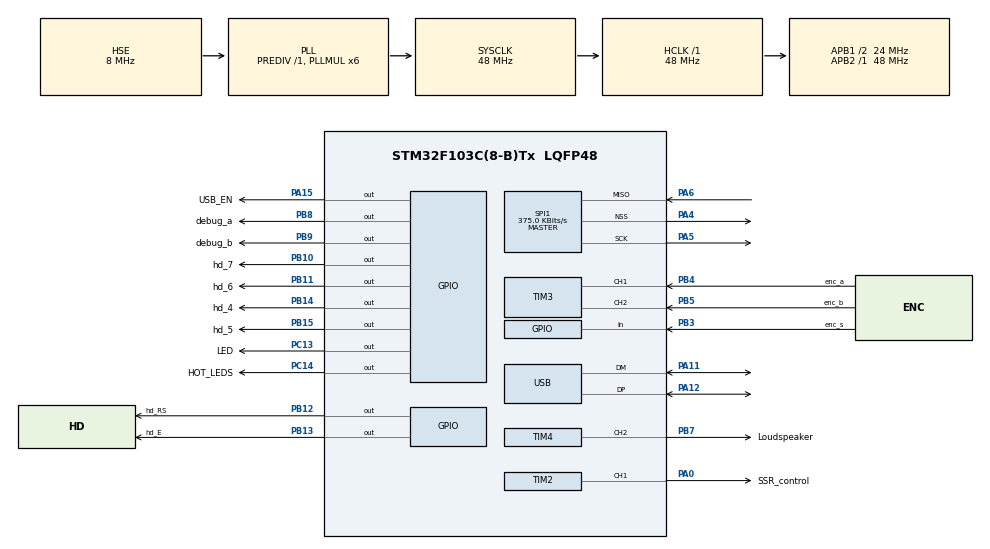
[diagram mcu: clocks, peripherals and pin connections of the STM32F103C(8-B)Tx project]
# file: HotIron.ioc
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Dma.Request0=TIM4_CH2
Dma.TIM4_CH2.0.Direction=DMA_MEMORY_TO_PERIPH
Dma.TIM4_CH2.0.Instance=DMA1_Channel4
Dma.TIM4_CH2.0.MemDataAlignment=DMA_MDATAALIGN_BYTE
Dma.TIM4_CH2.0.MemInc=DMA_MINC_ENABLE
Dma.TIM4_CH2.0.Mode=DMA_CIRCULAR
Dma.TIM4_CH2.0.PeriphDataAlignment=DMA_PDATAALIGN_HALFWORD
Dma.TIM4_CH2.0.PeriphInc=DMA_PINC_DISABLE
Dma.TIM4_CH2.0.Priority=DMA_PRIORITY_LOW
Mcu.Family=STM32F1
Mcu.Name=STM32F103C(8-B)Tx
Mcu.Package=LQFP48
NVIC.DMA1_Channel4_IRQn=true\:0\:0\:false\:false\:true\:false\:true
NVIC.PriorityGroup=NVIC_PRIORITYGROUP_4
NVIC.TIM2_IRQn=true\:0\:0\:false\:false\:true\:true\:true
NVIC.USB_LP_CAN1_RX0_IRQn=true\:0\:0\:false\:false\:true\:false\:true
PA0-WKUP.GPIO_Label=SSR_control
PA0-WKUP.Signal=S_TIM2_CH1_ETR
PA11.Mode=Device
PA11.Signal=USB_DM
PA12.Mode=Device
PA12.Signal=USB_DP
PA13.Mode=Serial_Wire
PA13.Signal=SYS_JTMS-SWDIO
PA14.Mode=Serial_Wire
PA14.Signal=SYS_JTCK-SWCLK
PA15.GPIO_Label=USB_EN
PA15.Signal=GPIO_Output
PA4.Mode=NSS_Signal_Hard_Output
PA4.Signal=SPI1_NSS
PA5.Mode=RX_Only_Simplex_Unidirect_Master
PA5.Signal=SPI1_SCK
PA6.GPIO_PuPd=GPIO_PULLUP
PA6.Mode=RX_Only_Simplex_Unidirect_Master
PA6.Signal=SPI1_MISO
PB10.GPIO_Label=hd_7
PB10.PinState=GPIO_PIN_SET
PB10.Signal=GPIO_Output
PB11.GPIO_Label=hd_6
PB11.PinState=GPIO_PIN_SET
PB11.Signal=GPIO_Output
PB12.GPIO_Label=hd_RS
PB12.PinState=GPIO_PIN_SET
PB12.Signal=GPIO_Output
PB13.GPIO_Label=hd_E
PB13.PinState=GPIO_PIN_SET
PB13.Signal=GPIO_Output
PB14.GPIO_Label=hd_4
PB14.PinState=GPIO_PIN_SET
PB14.Signal=GPIO_Output
PB15.GPIO_Label=hd_5
PB15.PinState=GPIO_PIN_SET
PB15.Signal=GPIO_Output
PB3.GPIO_Label=enc_s
PB3.Signal=GPIO_Input
PB4.GPIO_Label=enc_a
PB4.Signal=S_TIM3_CH1
PB5.GPIO_Label=enc_b
PB5.Signal=S_TIM3_CH2
PB7.GPIO_Label=Loudspeaker
PB7.Signal=S_TIM4_CH2
PB8.GPIO_Label=debug_a
PB8.Signal=GPIO_Output
PB9.GPIO_Label=debug_b
PB9.Signal=GPIO_Output
PC13-TAMPER-RTC.GPIO_Label=LED
PC13-TAMPER-RTC.Signal=GPIO_Output
PC14-OSC32_IN.GPIO_Label=HOT_LEDS
PC14-OSC32_IN.Signal=GPIO_Output
PD0-OSC_IN.Mode=HSE-External-Oscillator
PD0-OSC_IN.Signal=RCC_OSC_IN
PD1-OSC_OUT.Mode=HSE-External-Oscillator
PD1-OSC_OUT.Signal=RCC_OSC_OUT
ProjectManager.HeapSize=0x200
ProjectManager.StackSize=0x400
ProjectManager.TargetToolchain=STM32CubeIDE
RCC.AHBFreq_Value=48000000
RCC.APB1CLKDivider=RCC_HCLK_DIV2
RCC.APB1Freq_Value=24000000
RCC.APB1TimFreq_Value=48000000
RCC.APB2Freq_Value=48000000
RCC.APB2TimFreq_Value=48000000
RCC.HCLKFreq_Value=48000000
RCC.PLLMUL=RCC_PLL_MUL6
RCC.SYSCLKFreq_VALUE=48000000
RCC.SYSCLKSource=RCC_SYSCLKSOURCE_PLLCLK
RCC.USBFreq_Value=48000000
SH.S_TIM2_CH1_ETR.0=TIM2_CH1,PWM Generation1 CH1
SH.S_TIM3_CH1.0=TIM3_CH1,Encoder_Interface
SH.S_TIM3_CH2.0=TIM3_CH2,Encoder_Interface
SH.S_TIM4_CH2.0=TIM4_CH2,PWM Generation2 CH2
SPI1.BaudRatePrescaler=SPI_BAUDRATEPRESCALER_128
SPI1.CLKPhase=SPI_PHASE_1EDGE
SPI1.CLKPolarity=SPI_POLARITY_LOW
SPI1.CalculateBaudRate=375.0 KBits/s
SPI1.DataSize=SPI_DATASIZE_16BIT
SPI1.Direction=SPI_DIRECTION_2LINES_RXONLY
SPI1.Mode=SPI_MODE_MASTER
SPI1.VirtualNSS=VM_NSSHARD
SPI1.VirtualType=VM_MASTER
TIM1.Prescaler=HAL_RCC_GetSysClockFreq()/1000000-1
TIM2.AutoReloadPreload=TIM_AUTORELOAD_PRELOAD_ENABLE
TIM2.Channel-Output\ Compare2\ No\ Output=TIM_CHANNEL_2
TIM2.Channel-Output\ Compare3\ No\ Output=TIM_CHANNEL_3
TIM2.Channel-PWM\ Generation1\ CH1=TIM_CHANNEL_1
TIM2.ClockDivision=TIM_CLOCKDIVISION_DIV1
TIM2.Period=999
TIM2.Prescaler=HAL_RCC_GetSysClockFreq()/1000-1
TIM3.AutoReloadPreload=TIM_AUTORELOAD_PRELOAD_ENABLE
TIM3.CounterMode=TIM_COUNTERMODE_UP
TIM3.EncoderMode=TIM_ENCODERMODE_TI1
TIM3.IC1Filter=10
TIM3.IC1Polarity=TIM_ICPOLARITY_RISING
TIM3.IC2Filter=10
TIM3.IC2Polarity=TIM_ICPOLARITY_RISING
TIM4.AutoReloadPreload=TIM_AUTORELOAD_PRELOAD_ENABLE
TIM4.Channel-PWM\ Generation2\ CH2=TIM_CHANNEL_2
TIM4.Period=127
TIM4.Pulse-PWM\ Generation2\ CH2=0
USB_DEVICE.CLASS_NAME_FS=CDC
USB_DEVICE.VirtualMode=Cdc
USB_DEVICE.VirtualModeFS=Cdc_FS
VP_TIM1_VS_ClockSourceINT.Mode=Internal
VP_TIM2_VS_ClockSourceINT.Mode=Internal
VP_TIM2_VS_no_output2.Mode=Output Compare2 No Output
VP_TIM2_VS_no_output3.Mode=Output Compare3 No Output
VP_TIM4_VS_ClockSourceINT.Mode=Internal
VP_USB_DEVICE_VS_USB_DEVICE_CDC_FS.Mode=CDC_FS
board=custom

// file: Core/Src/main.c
/* USER CODE BEGIN Header */
/**
  ******************************************************************************
  * @file           : main.c
  * @brief          : Main program body
  ******************************************************************************
  * @attention
  *
  * <h2><center>&copy; Copyright (c) 2021 STMicroelectronics.
  * All rights reserved.</center></h2>
  *
  * This software component is licensed by ST under BSD 3-Clause license,
  * the "License"; You may not use this file except in compliance with the
  * License. You may obtain a copy of the License at:
  *                        opensource.org/licenses/BSD-3-Clause
  *
  ******************************************************************************
  */
/* USER CODE END Header */
#include "main.h"
#include "usb_device.h"

/* USER CODE BEGIN Includes */
#include "usbd_cdc_if.h"
#include "delay.h"
#include "lcd.h"
#include "string.h"
#include "spi_rxonly.h"

#include "notes.h"

/* USER CODE END Includes */

/* USER CODE BEGIN PD */
#define HOT_TEMP (40) // temperature to show the HOT indicator
#define HOT_HYST (2)  // hysteresis for led blink
#define MAX_TEMP (270) // upper limit
#define STEP_TEMP (5) // how much to change the temperature with each encoder tick

// pins used for debug
#define DEBUG_A1 HAL_GPIO_WritePin(debug_a_GPIO_Port, debug_a_Pin, 1)
#define DEBUG_B1 HAL_GPIO_WritePin(debug_b_GPIO_Port, debug_b_Pin, 1)
#define DEBUG_A0 HAL_GPIO_WritePin(debug_a_GPIO_Port, debug_a_Pin, 0)
#define DEBUG_B0 HAL_GPIO_WritePin(debug_b_GPIO_Port, debug_b_Pin, 0)

/* USER CODE END PD */

SPI_HandleTypeDef hspi1;

TIM_HandleTypeDef htim1;
TIM_HandleTypeDef htim2;
TIM_HandleTypeDef htim3;
TIM_HandleTypeDef htim4;
DMA_HandleTypeDef hdma_tim4_ch2;

/* USER CODE BEGIN PV */

LCD_HandleTypeDef lcd;

// ports & pins should be globally visible
LCD_PortType ports[] = {	hd_4_GPIO_Port,
  	  	  					hd_5_GPIO_Port,
							hd_6_GPIO_Port,
							hd_7_GPIO_Port};
LCD_PinType pins[] = {		hd_4_Pin,
	  	    				hd_5_Pin,
							hd_6_Pin,
							hd_7_Pin};

enum {
	errOK = 0,
	errTEMP_SP = 1<<0,
	errTEMP_PV = 1<<1,
	errHEATER = 1<<2,
	errI_LIMIT = 1<<3,
	errMAX6675_invalid = 1<<4,
	errTIMEOUT = 1<<5,
	errFATAL = 1 << 6
};

uint8_t global_error = errOK;
uint8_t ticktack = 0; // using for display blink

struct sENCODER {
	uint16_t value;
	bool pressed;
	bool long_press;
} encoder = {.value = 0, .pressed = false, .long_press = false};

struct sMAX6675 {
	uint16_t temperature; // precise to 0.25 grad
	uint8_t ascii[7];  // converted to ASCII
	bool data_valid;	// check if MAX6675 bits are correct
	bool hot;			// check if temperature too hot
} MAX6675 = {.data_valid = false, .temperature = 0, .hot = false};

uint16_t pwm_value = 0;
uint16_t temperature_SP = 0;
struct sPID {
	int32_t P;
	int32_t I;
	int32_t D;
} PID;

bool tick = false; // used to sync update USB output with Temperature & PID update

typedef struct {
	int32_t temp;
	uint32_t time;
} sSTEPS;

const sSTEPS steps_default[] = {
		{.temp = 130, .time=90},
		{.temp = 210, .time=15},
};

struct {
	uint8_t melody;
	bool peep; // enabled if high
	bool stop; // set to 1 to stop the PWM after next cycle, PWM_STOP sets to 0
} peep = {melodyLEVEL_COMPLETE, false, false};

/* USER CODE END PV */

void SystemClock_Config(void);
static void MX_GPIO_Init(void);
static void MX_SPI1_Init(void);
static void MX_TIM1_Init(void);
static void MX_TIM2_Init(void);
static void MX_DMA_Init(void);
static void MX_TIM4_Init(void);
static void MX_TIM3_Init(void);

/* USER CODE BEGIN 0 */

void int2string(uint32_t digit, uint8_t * buf, uint8_t len)
{
	for (int i = len - 1; i >= 0; i--)
	{
		if (digit || (i == (len-1)))
		{
			buf[i] = digit % 10 + '0';
			digit /= 10;
		}
		else
			buf[i] = ' ';
	}
}

/**
 * converts int to time string
 * @param time - time in msec
 * @param buf - provide buffer for 5 positions
 */
char * int2time(uint32_t time, uint8_t * buf)
{
	buf[4] = '\0';
	if (time >= 600)
	{
		// display time in minutes
		buf[3] = 'm';
		time /= 60;
		if (time >= 999)
		{
			global_error |= errTIMEOUT;
			time = 999;
		}
		int2string(time, buf, 3);
	} else
	{
		buf[1] = ':';
		buf[3] = time % 10 + '0';
		time /= 10;
		buf[2] = time % 6 + '0';
		time /= 6;
		buf[0] = time + '0';
	}
	return (char *)buf;
}

// custom characters
enum {
	  ccENTER,
	  ccDOWN,
	  ccUPEQ,
	  ccUP,
	  ccHOT,
	  ccHOTmirror,
	  cc3dots,
	  ccDOT
};

// useful standart characters
enum {
	scAR = 0x7E, // arrow right
	scGRAD = 223, // ° symbol
	scDOT = 0xA5, // big dot in the middle
	scSIGMA = 0xF6, // sigma
};

void init_lcd(void)
{
	  lcd = lcd_create(ports, pins,
						hd_RS_GPIO_Port, hd_RS_Pin,
						hd_E_GPIO_Port, hd_E_Pin,
						LCD_4_BIT_MODE);

	  /* load symbols */

	  uint8_t symbols [] = {
	  	  	  				0x0, 0x1, 0x5, 0x9, 0x1f, 0x8, 0x4, 0x0,   // ENTER
							0x0, 0x0, 0x0, 0x0, 0x11, 0xa, 0x4, 0x0,	// DOWN SMALL
							0x4, 0xe, 0x1f, 0x0, 0x1f, 0x0, 0x0, 0x0,	// UP EQUAL
							0x4, 0xe, 0x1f, 0x0, 0x0, 0x0, 0x0, 0x0,   // UP
							0x9, 0x12, 0x9, 0x12, 0x0, 0x1f, 0x1f, 0x0, // HOT
							0x12, 0x9, 0x12, 0x9, 0x0, 0x1f, 0x1f, 0x0, // HOT mirror
							0x0, 0x4, 0x0, 0x4, 0x0, 0x4, 0x0, 0x0,    // 3 dots
							0x0, 0x0, 0x0, 0x0, 0x0, 0x0, 0x1, 0x0,		// 1 dot
//						    0x4, 0xe, 0x1f, 0x0, 0x1f, 0xe, 0x4, 0x0,  // UP DOWN FULL
//							0x0, 0x0, 0x0, 0x0, 0x1f, 0xe, 0x4, 0x0,   // DOWN FULL
//							0xa, 0x1f, 0x1f, 0x1f, 0xe, 0x4, 0x0, 0x0, // heart big
//			  	  	  	  	0x0, 0xe, 0x11, 0x15, 0x11, 0xe, 0x0, 0x0, // OFF
//			  	  	  	  	0x0, 0x4, 0x15, 0x15, 0x11, 0xe, 0x0, 0x0, // ON
//							0x0, 0x0, 0x0, 0x0, 0x0, 0x0, 0x15, 0x0,   // ellips
//							0x0, 0x0, 0xa, 0x1f, 0xe, 0x4, 0x0, 0x0, // heart
	  };
	  lcd_define_chars(&lcd, symbols);
	  lcd_set_xy(&lcd, 0, 0);
	  lcd_string(&lcd, "Maksim Jeskevic ");
	  lcd_set_xy(&lcd, 0, 1);
	  lcd_string(&lcd, "         2021 08");
	  HAL_Delay(1500);
	  lcd_clear(&lcd);
}

/**
 * updates button state, checks if button long pressed
 * also updates encoder value register
 */
void do_button(void)
{
	const uint32_t time_for_long_press = 700;
	static uint32_t last_time = 0;
	static bool last_button = false;
	static uint32_t but_time = 0;
	if (HAL_GetTick() - last_time < 20)
		return;
	encoder.pressed = !HAL_GPIO_ReadPin(enc_s_GPIO_Port, enc_s_Pin);
	if (encoder.pressed)
	{
		if (!last_button)
			but_time = HAL_GetTick();
		if (HAL_GetTick() - but_time > time_for_long_press)
			encoder.long_press = true;
	}
	else
		encoder.long_press = false;
	last_button = encoder.pressed;

	/**
	 * reads register value and drops non-significant byte
	 * also inverts direction of encoder
	 */
	encoder.value = (-((int16_t)(TIM3->CNT)))>>1;

	last_time = HAL_GetTick();
}

void do_blink(void)
{
	static uint32_t last_time = 0;
	if (HAL_GetTick() - last_time < 500)
		return;
	last_time = HAL_GetTick();
	HAL_GPIO_TogglePin(LED_GPIO_Port, LED_Pin);
}

/**
 * read temperature from max6675
 * and check for validity
 */
void get_max6675(void)
{
	uint16_t data;
	HAL_SPI_ReceiveOnly(&hspi1, (uint8_t*)(&data), 1, 100);

	MAX6675.data_valid = !(data & 0b110);
	MAX6675.temperature = data >> 3;
	if (!(MAX6675.data_valid))
		MAX6675.temperature = 0xfff;
}

void ascii_max6675(void)
{
	if (MAX6675.data_valid)
		{
			uint32_t digit = 25*(MAX6675.temperature&0b11);
			digit += (MAX6675.temperature>>2)*1000;
			int8_t i = 6;
			while (digit)
			{
				MAX6675.ascii[i--] = '0' + digit%10;
				digit /= 10;
			}
			while (i >= 0)
			{
				if (i > 2)
					MAX6675.ascii[i--] = '0';
				else
					MAX6675.ascii[i--] = ' ';
			}
			MAX6675.ascii[4] = '.';

			if (MAX6675.hot && (MAX6675.temperature < (HOT_TEMP<<2)))
				MAX6675.hot = false;
			else if ((!MAX6675.hot) &&
					(MAX6675.temperature > ((HOT_TEMP + HOT_HYST)<<2)))
				MAX6675.hot = true;
		}
		else
		{
			for (int i = 0; i < sizeof(MAX6675); i ++)
				MAX6675.ascii[i] = 'x';
			MAX6675.hot = true;
		}
}

void do_usb(void)
{
	if (!tick)
		return;
	tick = false; // sync with ticks

	uint8_t buf[200];
	uint16_t n = snprintf((char*)buf, 200,
			"Tick: %lu; PV: %u.%02u; SP: %u; PWM: %u; P: %li; I: %li; D: %li\r\n",
						HAL_GetTick()/1000,
						MAX6675.temperature>>2,
						((MAX6675.temperature)&0b11)*25,
						temperature_SP,
						pwm_value,
						PID.P,
						PID.I,
						PID.D);
	CDC_Transmit_FS(buf, n);
}

void do_peep(void)
{
	static uint8_t peep_note = 0;
	static uint32_t last_time = 0;
	static bool last_peep = false;

	static uint8_t peep_state = 0;

	if (peep.peep & (!last_peep))
	{
		// first time
		peep_note = 0;
		peep_state = 0;
		last_time = HAL_GetTick();
	}

	if (peep.peep)
	{
		switch (peep_state) {
		case 0: // init
			peep.stop = false;
			peep_note = 0;
			peep_state = 1;
			break;
		case 1: // load note and start
			if (melody[peep.melody].melody[peep_note].size) // if something to play, start PWM with DMA
			{
				HAL_TIM_PWM_Start_DMA(&htim4, TIM_CHANNEL_2,
						(uint32_t *)melody[peep.melody].melody[peep_note].note,
						melody[peep.melody].melody[peep_note].size);
			}
			last_time = HAL_GetTick();
			peep_state = 2;
			break;
		case 2: // wait note length
			if (HAL_GetTick() - last_time > melody[peep.melody].melody[peep_note].time)
			{
				if (melody[peep.melody].melody[peep_note].size == 0)
				{
					// we need only pause, PWM & DMA already disabled
					peep_state = 4;
				}
				else
				{
					peep.stop = true;
					peep_state = 3;
				}
			}
			break;
		case 3: // wait PWM stop
			if (!peep.stop)
				peep_state = 4;
			break;
		case 4: // check if next note to play
			if (++peep_note < melody[peep.melody].size)
			{
				peep_state = 1; // play next note
			}
			else
			{
				if (melody[peep.melody].play_once)
				{
					// play only once
					peep.peep = false; // so, we are finished
				}
				else
				{
					// we are finished, start again
					peep_state = 0;
				}
			}
			break;
		default:
			global_error |= errFATAL;
			break;
		}
	}
	else if (last_peep)
	{
		peep.stop = true;
	}
	last_peep = peep.peep;
}

typedef enum {
	uiSTART,
	uiLONG_PRESS,
	uiMENUenter,
	uiMENU,
	uiHEATPLATEenter,
	uiHEATPLATE,
	uiSETTINGSenter,
	uiSETTINGS,
	uiREFLOW,
	uiMALFUNCTION,
} eUISTATE;
eUISTATE ui_state = uiSTART;

/**
 * Function for the main interface, also for error states and co.
 */
void do_interface(void)
{
	static sSTEPS steps[9]; // steps for reflow
	static uint8_t max_steps = 2; // how many steps, max. 10

	static bool first_time = true;
	if (first_time)
	{
		max_steps = sizeof(steps_default)/sizeof(steps_default[0]);
		for (int i = 0; i < max_steps; i ++)
		{
			steps[i].temp = steps_default[i].temp;
			steps[i].time = steps_default[i].time;
		}
		first_time = false;
	}

	/**
	 * clears left part of the display
	 */
	void lcd_mini_clear(LCD_HandleTypeDef * lcd)
	{
		lcd_mode(lcd, ENABLE, CURSOR_DISABLE, NO_BLINK);
		lcd_set_xy(lcd, 0, 0);
		lcd_string(lcd, "            ");
		lcd_set_xy(lcd, 0, 1);
		lcd_string(lcd, "             ");
	}

	/**
	 * helper function to change temperature with encoder
	 * @param t - current value
	 * @param diff - delta from encoder
	 * @return - value to set
	 */
	uint32_t change_temperature(uint32_t t, int16_t diff)
	{
		if (diff == 0)
			return t;
		int32_t temp = (int32_t)t; // to avoid zero-cross
		temp = (temp / STEP_TEMP) * STEP_TEMP; // round for more beauty
		temp += (diff)*STEP_TEMP;
		if (temp < 0)
			temp = 0;
		if (temp > MAX_TEMP)
			temp = MAX_TEMP;
		return (uint32_t)temp;
	}

	/**
	 * helper function to change time with encoder
	 * @param t - current value
	 * @param diff - delta from encoder
	 * @return - value to set
	 */
	uint32_t change_time(uint32_t t, int16_t diff, bool round)
	{
		int32_t temp = (int32_t)t; // to avoid zero-cross
		int32_t step = 5; // how much to change the time in seconds
		if (t < 60)
			step = 5;
		else if (t < 120)
			step = 10;
		else if (t < 300)
			step = 20;
		else if (t < 600)
			step = 30;
		else if (t < 1200)
			step = 60;
		else if (t < 3600)
			step = 300;
		else if (t < 7200)
			step = 600;
		else
			step = 1800;

		if (round)
			temp = (temp / step) * step; // round
		temp += (diff)*step;
		if (temp < 5)
			temp = 5;
		if (temp > 900*60)
			temp = 900*60;
		return (uint32_t)temp;
	}

	/**
	 * "heatplate mode" - just constant heating
	 */
	void heatplate(bool reset)
	{
		static uint16_t last_encoder = 0;
		static uint32_t last_time = 0;

		if (reset)
		{
			last_encoder = encoder.value;
			last_time = HAL_GetTick();
			return;
		}

		if (encoder.pressed)
			temperature_SP = 0;
		temperature_SP = change_temperature(temperature_SP,
							encoder.value - last_encoder);
		last_encoder = encoder.value;

		// show time
		uint8_t tbuf[6];
		tbuf[0] = '+';
		int2time((HAL_GetTick() - last_time)/1000, tbuf+1);
		lcd_set_xy(&lcd, 0, 0);
		lcd_string(&lcd, (char*)tbuf);

		// show temperature
		uint8_t buf[3];
		int2string(temperature_SP, buf, sizeof(buf));
		lcd_set_xy(&lcd, 7, 0);
		lcd_out(&lcd, buf, sizeof(buf));
		lcd_write_data(&lcd, scGRAD); // grad
		lcd_write_data(&lcd, scAR); // arrow right
		lcd_set_xy(&lcd, 9, 0);
		lcd_mode(&lcd, ENABLE, (ticktack < 5), NO_BLINK);

	}

	/**
	 * profile settings
	 * provides interface to edit/add/remove steps
	 */
	bool do_profile_settings(bool reset)
	{
		static int8_t pos = 0; // signed, to prevent negative overflow
		static uint8_t profile_state = 0;
		static uint32_t last_time = 0;
		static uint16_t last_encoder = 0;
		static bool last_button = false;

		uint8_t time_buf[5];

		if (reset)
		{
			last_encoder = encoder.value;
			pos = 0;
			profile_state = 0;
			last_time = HAL_GetTick();
			return false;
		}

		if (HAL_GetTick() - last_time < 1000)
		{
			return false; // delay to show intro text
		}

		int16_t diff = encoder.value - last_encoder;
		last_encoder = encoder.value;

		void show_step_menu(void)
		{
			// show time
			int2time(steps[pos].time, time_buf);
			lcd_set_xy(&lcd, 5, 1);
			lcd_string(&lcd, (char*)time_buf);

			// show temperature
			uint8_t buf[3];
			int2string(steps[pos].temp, buf, sizeof(buf));
			lcd_set_xy(&lcd, 0, 1);
			lcd_out(&lcd, buf, sizeof(buf));
			lcd_write_data(&lcd, scGRAD); // grad
			lcd_write_data(&lcd, ' ');

			// write number of step
			lcd_set_xy(&lcd, 0, 0);
			lcd_write_data(&lcd, '#');
			lcd_write_data(&lcd, pos+'1');
			lcd_write_data(&lcd, '/');
			lcd_write_data(&lcd, max_steps + '0');
			lcd_string(&lcd, " step   ");
		}

		switch (profile_state)
		{
		case 0: // init
			pos = 0;
			profile_state = 90;
			break;
		case 1: // select profile
			if (diff == 0)
			{
				if (last_button && (!encoder.pressed))
					profile_state = 10;
			}
			else
			{
				if (diff > 0)
				{
					pos++;
				}
				else if (diff < 0)
				{
					pos--;
				}
			}
			if ((pos < 0) || (pos >= max_steps))
			{
				profile_state = 90;
				break;
			}

			show_step_menu();

			lcd_set_xy(&lcd, 9, 1);
			lcd_string(&lcd, "    ");
			lcd_set_xy(&lcd, 11, 0);
			lcd_write_data(&lcd, cc3dots);
			lcd_set_xy(&lcd, 11, 0);
			lcd_mode(&lcd, ENABLE, (ticktack < 5), NO_BLINK);

			break;
		case 10: // confirm current profile
			if (diff == 0)
			{
				if (last_button && (!encoder.pressed))
					profile_state = 1; // stop editing
			}
			else
			{
				if (diff > 0)
				{
					profile_state = 21;
				}
				else if (diff < 0)
				{
					profile_state = 12;
				}
			}

			show_step_menu();

			lcd_set_xy(&lcd, 9, 1);
			lcd_string(&lcd, " +x");
			lcd_write_data(&lcd, ccENTER);
			lcd_set_xy(&lcd, 12, 1);
			lcd_mode(&lcd, ENABLE, (ticktack < 5), NO_BLINK);
			break;
		case 11: // add new step
			if (diff == 0)
			{
				if (last_button && (!encoder.pressed))
				{
					if (max_steps >= 9)
						profile_state = 13;
					else
					{
						// adding position
						for (int i = 8; i > pos; i--)
						{
							steps[i].time = steps[i-1].time;
							steps[i].temp = steps[i-1].temp;
						}
						pos++;
						steps[pos].time = 60;
						steps[pos].temp = 100;
						max_steps++;
						profile_state = 10; // wait for confirmation
					}
				}
			}
			else
			{
				if (diff > 0)
				{
					profile_state = 12;
				}
				else if (diff < 0)
				{
					profile_state = 23;
				}
			}

			show_step_menu();

			lcd_set_xy(&lcd, 9, 1);
			lcd_string(&lcd, " +x");
			lcd_write_data(&lcd, ccENTER);
			lcd_set_xy(&lcd, 10, 1);
			lcd_mode(&lcd, ENABLE, (ticktack < 5), NO_BLINK);

			break;
		case 12: // delete current step
			if (diff == 0)
			{
				if (last_button && (!encoder.pressed))
				{
					if (max_steps <= 1)
						profile_state = 14;
					else
					{
						for (int i = pos; i < 8; i++)
						{
							steps[i].time = steps[i+1].time;
							steps[i].temp = steps[i+1].temp;
						}
						max_steps--;
						if (pos >= max_steps) 	// if it was last position
							pos = max_steps-1; 	// move to the previous one
						profile_state = 1; 	// show profile
					}
				}
			}
			else
			{
				if (diff > 0)
				{
					profile_state = 10;
				}
				else if (diff < 0)
				{
					profile_state = 11;
				}
			}

			show_step_menu();

			lcd_set_xy(&lcd, 9, 1);
			lcd_string(&lcd, " +x");
			lcd_write_data(&lcd, ccENTER);
			lcd_set_xy(&lcd, 11, 1);
			lcd_mode(&lcd, ENABLE, (ticktack < 5), NO_BLINK);

			break;
		case 13: // can't add steps anymore
			if (last_button && (!encoder.pressed)) // wait for confirmation
				profile_state = 10;
			lcd_set_xy(&lcd, 0, 0);
			lcd_string(&lcd, "Not possible");
			lcd_set_xy(&lcd, 0, 1);
			lcd_string(&lcd, "max 9 steps ");
			lcd_write_data(&lcd, ccENTER);
			lcd_set_xy(&lcd, 12, 1);
			lcd_mode(&lcd, ENABLE, (ticktack < 5), NO_BLINK);
			break;
		case 14: // can't delete steps anymore
			if (last_button && (!encoder.pressed)) // wait for confirmation
				profile_state = 10;
			lcd_set_xy(&lcd, 0, 0);
			lcd_string(&lcd, "Not possible");
			lcd_set_xy(&lcd, 0, 1);
			lcd_string(&lcd, "min 1 step  ");
			lcd_write_data(&lcd, ccENTER);
			lcd_set_xy(&lcd, 12, 1);
			lcd_mode(&lcd, ENABLE, (ticktack < 5), NO_BLINK);
			break;
		case 21: // wait temperature edit
			if (diff == 0)
			{
				if (last_button && (!encoder.pressed))
					profile_state = 22; // start edit
			}
			else
			{
				if (diff > 0)
				{
					profile_state = 23;
				}
				else if (diff < 0)
				{
					profile_state = 10;
				}
			}

			show_step_menu();

			lcd_set_xy(&lcd, 9, 1);
			lcd_string(&lcd, " +x");
			lcd_write_data(&lcd, ccENTER);
			lcd_set_xy(&lcd, 2, 1);
			lcd_mode(&lcd, ENABLE, (ticktack < 5), NO_BLINK);

			break;
		case 22: // edit temperature
			if (diff == 0)
			{
				if (last_button && (!encoder.pressed))
					profile_state = 21; // stop editing
			}
			else
			{
				steps[pos].temp = change_temperature(steps[pos].temp, diff);
			}

			show_step_menu();

			lcd_set_xy(&lcd, 9, 1);
			lcd_string(&lcd, " +x");
			lcd_write_data(&lcd, ccENTER);
			lcd_set_xy(&lcd, 2, 1);
			lcd_mode(&lcd, ENABLE, CURSOR_DISABLE, BLINK);

			break;
		case 23: // wait time edit
			if (diff == 0)
			{
				if (last_button && (!encoder.pressed))
					profile_state = 24; // start edit
			}
			else
			{
				if (diff > 0)
				{
					profile_state = 11;
				}
				else if (diff < 0)
				{
					profile_state = 21;
				}
			}

			show_step_menu();

			lcd_set_xy(&lcd, 0, 1);

			lcd_set_xy(&lcd, 9, 1);
			lcd_string(&lcd, " +x");
			lcd_write_data(&lcd, ccENTER);
			lcd_set_xy(&lcd, 8, 1);
			lcd_mode(&lcd, ENABLE, (ticktack < 5), NO_BLINK);

			break;
		case 24: // edit time
			if (diff == 0)
			{
				if (last_button && (!encoder.pressed))
					profile_state = 23; // stop editing
			}
			else
			{
				steps[pos].time = change_time(steps[pos].time, diff, true);
			}

			show_step_menu();

			lcd_set_xy(&lcd, 9, 1);
			lcd_string(&lcd, " +x");
			lcd_write_data(&lcd, ccENTER);
			lcd_set_xy(&lcd, 8, 1);
			lcd_mode(&lcd, ENABLE, CURSOR_DISABLE, BLINK);

			break;
		case 90: // last menu
			lcd_set_xy(&lcd, 0, 0);
			lcd_write_data(&lcd, ' ');
			lcd_write_data(&lcd, scSIGMA);
			lcd_write_data(&lcd, ' ');
			lcd_write_data(&lcd, max_steps + '0');
			lcd_string(&lcd, " steps  ");
			lcd_set_xy(&lcd, 0, 1);
			lcd_string(&lcd, "start prof. ");
			lcd_write_data(&lcd, ccENTER);
			lcd_set_xy(&lcd, 12, 1);
			lcd_mode(&lcd, ENABLE, (ticktack < 5), NO_BLINK);
			if (diff == 0)
			{
				if (last_button && (!encoder.pressed))
				{
					lcd_mini_clear(&lcd);
					return true;
				}
			}
			else
			{
				if (diff > 0)
				{
					pos = 0;
				}
				else if (diff < 0)
				{
					pos = max_steps - 1;
				}
				profile_state = 1;
			}
			break;
		default:
			global_error |= errFATAL;
			break;
		}

		last_button = encoder.pressed;
		return false;
	}

	/**
	 * do heat/wait in steps
	 */
	void do_reflow(bool reset)
	{
		static uint32_t last_time = 0;
		volatile static uint8_t pos = 0;
		static bool last_button = false;
		static bool peep_first_time = true;

		if (reset)
		{
			last_time = HAL_GetTick();
			peep_first_time = true;
			last_button = false;
			pos = 0;
			return;
		}

		uint8_t time_buf[6];

		int32_t dt = ((int32_t)(temperature_SP<<2)) -
					 ((int32_t)MAX6675.temperature);

		if (pos >= (2*max_steps))
		{
			if (peep_first_time)
			{
				peep.melody = melodyLEVEL_COMPLETE;
				peep.peep = true;
				peep_first_time = false;
			}

			if (encoder.pressed)
				peep.peep = false;

			temperature_SP = 0;
			lcd_set_xy(&lcd, 0, 0);
			lcd_string(&lcd, "Cooldown    ");
			lcd_set_xy(&lcd, 7, 1);
			lcd_string(&lcd, "+");
			lcd_string(&lcd, int2time((HAL_GetTick() - last_time)/1000, time_buf));
			lcd_write_data(&lcd, ' ');

			if (peep.peep)
			{
				lcd_set_xy(&lcd, 0, 1);
				lcd_string(&lcd, "mute");
				lcd_write_data(&lcd, ccENTER);
				lcd_string(&lcd, "  ");
				lcd_set_xy(&lcd, 4, 1);
				lcd_mode(&lcd, ENABLE, (ticktack < 5), NO_BLINK);
			} else
			{
				lcd_mode(&lcd, ENABLE, CURSOR_DISABLE, NO_BLINK);
				lcd_set_xy(&lcd, 0, 1);
				lcd_string(&lcd, "       ");
			}

			return;
		}

		static uint32_t check_time = 0;
		if (pos%2 == 0)
		{
			// we are going to temperature
			temperature_SP = steps[pos>>1].temp;
			time_buf[0] = '+';
			int2time((HAL_GetTick() - last_time)/1000, time_buf+1);
			lcd_set_xy(&lcd, 0, 1);
			lcd_string(&lcd, "goto");
			if ((dt > -(4<<2)) && (dt < (4<<2)))
			{
				if (HAL_GetTick() - check_time > 3000) // we should be at least some time in range
				{
					last_time = HAL_GetTick();
					pos++;
					temperature_SP = steps[pos>>1].temp;

					peep.melody = melodyCOIN;
					peep.peep = true;
				}
			}
			else
			{
				check_time = HAL_GetTick();
			}
		}
		else
		{
			// we are waiting for timeout
			temperature_SP = steps[pos>>1].temp;
			if (HAL_GetTick() - last_time >= steps[pos>>1].time*1000)
			{
				last_time = HAL_GetTick();
				check_time = HAL_GetTick();
				pos++;
				if (pos < (2*max_steps))
				{
					temperature_SP = steps[pos>>1].temp;

					peep.melody = melodyCOIN;
					peep.peep = true;
				}
				else
					temperature_SP = 0;
			}
			else
			{
				time_buf[0] = '-';
				// how long to wait? add some time to avoid negative time
				int2time(steps[pos>>1].time - (HAL_GetTick() - last_time + 1000)/1000, time_buf+1);
				lcd_set_xy(&lcd, 0, 1);
				lcd_string(&lcd, "hold");
			}
		}

		// write number of step
		lcd_set_xy(&lcd, 0, 0);
		lcd_write_data(&lcd, '#');
		lcd_write_data(&lcd, (pos>>1)+'1');
		lcd_write_data(&lcd, '/');
		lcd_write_data(&lcd, max_steps + '0');

		// show time
		lcd_set_xy(&lcd, 7, 1);
		lcd_string(&lcd, (char*)time_buf);

		// write temperature
		uint8_t buf[3];
		int2string(temperature_SP, buf, sizeof(buf));
		lcd_set_xy(&lcd, 7, 0);
		lcd_out(&lcd, buf, sizeof(buf));
		lcd_write_data(&lcd, scGRAD); // grad
		lcd_write_data(&lcd, scAR); // arrow right
		lcd_set_xy(&lcd, 9, 0);

		// *** let's allow some in-process variable tuning
		static uint8_t rf_ui_state = 0;
		static uint8_t last_pos = 0;
		if (last_pos != pos)
		{
			// position changed, we should reset menu
			rf_ui_state = 0;
		}
		last_pos = pos;
		static uint16_t last_encoder = 0;

		switch (rf_ui_state)
		{
		case 0: // reset all to default view
			rf_ui_state = 1;
			break;
		case 1: // wait for temperature edit
			lcd_set_xy(&lcd, 9, 0);
			lcd_mode(&lcd, ENABLE, (ticktack < 5), NO_BLINK);
			if (((encoder.value) != (last_encoder)) && (pos&0b1)) // we are on working temperature
				rf_ui_state = 3;
			if ((last_button) && (!encoder.pressed))
				rf_ui_state = 2;
			break;
		case 2: // edit temperature
			if (encoder.value != last_encoder)
				steps[pos>>1].temp = change_temperature(steps[pos>>1].temp,
											encoder.value - last_encoder);
			lcd_set_xy(&lcd, 9, 0);
			lcd_mode(&lcd, ENABLE, CURSOR_DISABLE, BLINK);
			if ((last_button) && (!encoder.pressed))
				rf_ui_state = 1;
			break;
		case 3: // wait for time edit
			lcd_set_xy(&lcd, 11, 1);
			lcd_mode(&lcd, ENABLE, (ticktack < 5), NO_BLINK);
			if ((encoder.value) != (last_encoder))
				rf_ui_state = 1;
			if ((last_button) && (!encoder.pressed))
				rf_ui_state = 4;
			break;
		case 4: // edit time
			if (encoder.value != last_encoder)
			{
				uint32_t tmp = (HAL_GetTick() - last_time)/1000;
				steps[pos>>1].time = tmp + change_time(steps[pos>>1].time - tmp,
															encoder.value - last_encoder,
															false);
			}
			lcd_set_xy(&lcd, 11, 1);
			lcd_mode(&lcd, ENABLE, CURSOR_DISABLE, BLINK);
			if ((last_button) && (!encoder.pressed))
				rf_ui_state = 3;
			break;
		default:
			rf_ui_state = 0;
			break;
		}
		last_encoder = encoder.value;
		last_button = encoder.pressed;

	}
	// ****** END DO_REFLOW *************** //

	/***********************
	 *  END HELP FUNCTIONS *
	 ***********************/

	/**
	 * this happens every 100 ms
	 */
	static uint32_t last_time = 0;
	static bool last_button = false;
	if (HAL_GetTick() - last_time < 100)
		return;
	last_time = HAL_GetTick();

	/*** Right always visible section ***/

	int32_t dT=((int32_t)temperature_SP)-((int32_t)(MAX6675.temperature>>2));

	lcd_set_xy(&lcd, 12, 0);
	if (MAX6675.data_valid)
	{
		lcd_out(&lcd, MAX6675.ascii+1, 3);
		lcd_write_data(&lcd, scGRAD);
	}
	else
	{
		lcd_string(&lcd, "___");
		temperature_SP = 0;
		global_error = errMAX6675_invalid;
		ui_state = uiMALFUNCTION;
	}

	lcd_set_xy(&lcd, 13, 1);
	// first symbol
	if (encoder.pressed)
		lcd_write_data(&lcd, scDOT);
	else
		lcd_write_data(&lcd, ' ');
	// second symbol
	if (!MAX6675.data_valid)
		lcd_write_data(&lcd, ' ');
	else
	{
		if ((temperature_SP == 0) && (!MAX6675.hot))
			lcd_write_data(&lcd, '-');
		else if (((pwm_value + 9)/10)*3 > ticktack)
		{
			if ((STEP_TEMP > dT) && (dT > -STEP_TEMP))
				lcd_write_data(&lcd, ccUPEQ);
			else
				lcd_write_data(&lcd, ccUP);
		}
		else if (dT >= STEP_TEMP)
			lcd_write_data(&lcd, '^');
		else if ((STEP_TEMP > dT) && (dT > -STEP_TEMP))
		{
			lcd_write_data(&lcd, '=');
		}
		else if (dT <= -STEP_TEMP)
			lcd_write_data(&lcd, ccDOWN);
		else
			lcd_write_data(&lcd, '?'); // should never happen

	}
	// last symbol
	if ((MAX6675.hot) || (!MAX6675.data_valid))
	{
		HAL_GPIO_WritePin(HOT_LEDS_GPIO_Port, HOT_LEDS_Pin, 1);
		if (ticktack < 5)
			lcd_write_data(&lcd, ccHOT);
		else
			lcd_write_data(&lcd, ccHOTmirror);
	}
	else
	{
		HAL_GPIO_WritePin(HOT_LEDS_GPIO_Port, HOT_LEDS_Pin, 0);
		if (ticktack < 5)
			lcd_write_data(&lcd, ccDOT);
		else
			lcd_write_data(&lcd, ' ');
	}
	if (++ticktack > 9)
		ticktack = 0;

	/* Check errors --------------------------------------------*/

	if (MAX6675.temperature > ((MAX_TEMP + 2*STEP_TEMP)<<2))
	{
		temperature_SP = 0;
		global_error |= errTEMP_PV;
	}

	if (temperature_SP > MAX_TEMP)
	{
		temperature_SP = 0;
		global_error |= errTEMP_SP;
	}

	//check if heater works
	static int32_t last_dT = 0;
	static uint32_t last_SP = 0xffff; // not realistic value, to be immediately replaced
	static uint32_t time_dT = 0;
	static bool check_heater = false;
	static uint32_t heater_timeout = 20;

	if (temperature_SP != last_SP) // user changed T
	{
		if (dT >= 20) // T diff is more than 20 grad
		{
			check_heater = true;
			last_dT = dT; // save value
			time_dT = HAL_GetTick(); // start timer
			heater_timeout = 120;
			if (dT >= 50)
				heater_timeout = 20; // if diff 50 grad, react faster
		}
		else
			check_heater = false;
	}
	else if (check_heater)
	{
		if (last_dT - dT > 5) // temperature changed more than 5 grad, ok!
			check_heater = false;
		else if (HAL_GetTick() - time_dT > heater_timeout*1024) // timeout, go in error
		{
			check_heater = false;
			global_error |= errHEATER;
		}
	}
	last_SP = temperature_SP;

	/************************************/

	if (encoder.long_press)
	{
		ui_state = uiLONG_PRESS;
		temperature_SP = 0;
		global_error = errOK;
		peep.peep = false;
	}

	if (global_error)
	{
		ui_state = uiMALFUNCTION;
		peep.melody = melodyLOSE_LIFE;
		peep.peep = true;
	}

	switch(ui_state)
	{
	case uiSTART:
		lcd_set_xy(&lcd, 0, 0);
		lcd_string(&lcd, "Long press  ");
		lcd_set_xy(&lcd, 0, 1);
		lcd_string(&lcd, "T=0 & reset ");
		lcd_write_data(&lcd, ccENTER);
		lcd_set_xy(&lcd, 12, 1);
		lcd_mode(&lcd, ENABLE, (ticktack < 5), NO_BLINK);
		if (!encoder.pressed && last_button)
		{
			lcd_mode(&lcd, ENABLE, CURSOR_DISABLE, NO_BLINK);
			ui_state = uiMENUenter;
		}
		break;
	case uiLONG_PRESS:
		lcd_mode(&lcd, ENABLE, CURSOR_DISABLE, NO_BLINK);
		lcd_set_xy(&lcd, 0, 0);
		lcd_string(&lcd, "T set to 0  ");
		lcd_set_xy(&lcd, 0, 1);
		lcd_string(&lcd, "err. cleared ");
		if (!encoder.pressed)
			ui_state = uiMENUenter;
		break;
	case uiMENUenter:
		lcd_mini_clear(&lcd);
		lcd_set_xy(&lcd, 0, 0);
		lcd_string(&lcd, " Profile");
		lcd_set_xy(&lcd, 0, 1);
		lcd_string(&lcd, " Heatplate");
		lcd_set_xy(&lcd, 0, (encoder.value)&0b1);
		lcd_write_data(&lcd, scAR);
		ui_state = uiMENU;
		break;
	case uiMENU:
		lcd_set_xy(&lcd, 0, (encoder.value)&0b1);
		lcd_write_data(&lcd, scAR);
		lcd_set_xy(&lcd, 0, 1 - ((encoder.value)&0b1));
		lcd_write_data(&lcd, ' ');
		if (!encoder.pressed && last_button)
		{
			ui_state = ((encoder.value)&0b1)?uiHEATPLATEenter:uiSETTINGSenter;
		}
		break;
	case uiHEATPLATEenter:
		lcd_mini_clear(&lcd);
		lcd_set_xy(&lcd, 0, 1);
		lcd_string(&lcd, "Heatplate   ");
		heatplate(true);
		ui_state = uiHEATPLATE;
		break;
	case uiHEATPLATE:
		heatplate(false);
		break;
	case uiSETTINGSenter:
		lcd_set_xy(&lcd, 0, 0);
		lcd_string(&lcd, " Profile    ");
		lcd_set_xy(&lcd, 0, 1);
		lcd_string(&lcd, " settings    ");
		ui_state = uiSETTINGS;
		do_profile_settings(true);
		break;
	case uiSETTINGS:
		if (do_profile_settings(false))
		{
			lcd_mini_clear(&lcd);
			ui_state = uiREFLOW;
			do_reflow(true);
		}
		break;
	case uiREFLOW:
		do_reflow(false);
		break;
	case uiMALFUNCTION: // just check errors
		temperature_SP = 0;
		lcd_mode(&lcd, ENABLE, CURSOR_DISABLE, NO_BLINK);
		lcd_set_xy(&lcd, 0, 0);
		lcd_string(&lcd, " * Error! * ");
		lcd_set_xy(&lcd, 0, 1);
		if (global_error & errMAX6675_invalid)
			lcd_string(&lcd, "Temp. Sensor");
		else if (global_error & errTEMP_SP)
			lcd_string(&lcd, "SP too high ");
		else if (global_error & errTEMP_PV)
			lcd_string(&lcd, "T too high  ");
		else if (global_error & errHEATER)
			lcd_string(&lcd, "heater power");
		else if (global_error & errI_LIMIT)
			lcd_string(&lcd, "heater limit");
		else if (global_error & errTIMEOUT)
			lcd_string(&lcd, "timeout     ");
		else
			lcd_string(&lcd, "fatal error ");

		break;
	default:
		global_error = errFATAL;
		ui_state = uiMALFUNCTION;
		break;
	}
	last_button = encoder.pressed;

}

/**
 * PID controller
 * @param PV - process variable, with 1/4 grad resolution
 * @param SP - set point, with 1/4 grad resolution
 */
uint8_t pid(uint16_t PV, uint16_t SP)
{
	// initialize coefficients and limits
	static const int32_t P=1*32768;
	static const int32_t I=0.00153*32768;
	static const int32_t D=10*32768;
	static const int32_t limit_top=25*4/0.00153; // max 25% of PWM

	int32_t deltaT(uint16_t PV)
	{
#define size 4
		static int32_t arr[size];
		static bool first_time = true;
		if (first_time)
		{
			first_time = false;
			for (int i = 0; i < size; i++)
				arr[i] = PV;
		}
		int32_t temp = arr[0];
		for (int i = 1; i < size; i++)
			arr[i-1] = arr[i];
		arr[size-1] = PV;
		return (temp - PV)/size;
	}

	static int32_t integral = 0;
	static int32_t last_PV = -1;
	if (last_PV < 0)
		last_PV = PV; // first time, init this thing to avoid jump

	int32_t error = SP-PV;
	int32_t p = error * P;
	if (error > 0)
	{
		integral += error;
		if (error < 4*4) // almost here, but we need some boost
			integral += error*8;
	}
	else
	{
		integral += error/4; // cool down is slower
		if (error > -4*4)
			integral += error*16; // almost here, we need boost!
	}
	if (integral > limit_top)
	{
		global_error |= errI_LIMIT;
		temperature_SP = 0;
		integral = limit_top;
	}
	if (integral < 0)
		integral = 0;
	int32_t i = integral * I;
	/* signal is noisy, but slow, I use additional filter for D */
	//int32_t d = (last_PV - PV)*D;
	int32_t d = deltaT(PV)*D;
	if (d > 0)
		d = 0;
	last_PV = PV;
	int32_t out = (p+i+d)/4/32768;
	if (out > 100)
		out = 100;
	if (out < 0)
		out = 0;

	PID.P = p/4/32768;
	PID.I = i/4/32768;
	PID.D = d/4/32768;

	return out;
}

/**
 * here happens two interrupts, at 998ms (for pid update)
 * and also at ~500ms (for second temperature update
 */
void HAL_TIM_OC_DelayElapsedCallback(TIM_HandleTypeDef* htim)
{
	get_max6675();
	if (htim->Channel == HAL_TIM_ACTIVE_CHANNEL_2)
	{
		if (!(MAX6675.data_valid))
			temperature_SP = 0;
		pwm_value = pid(MAX6675.temperature, temperature_SP<<2);
		uint16_t val = 10*pwm_value;
		TIM2->CCR1 = val;
		tick = true;
	}
	ascii_max6675();
}

void HAL_TIM_PWM_PulseFinishedCallback(TIM_HandleTypeDef *htim)
{
	if (peep.stop && (htim == &htim4))
	{
		HAL_TIM_PWM_Stop_DMA(htim, TIM_CHANNEL_2);
		peep.stop = false;
	}
}

/* USER CODE END 0 */

int main(void)
{

  /* MCU Configuration--------------------------------------------------------*/

  /* Reset of all peripherals, Initializes the Flash interface and the Systick. */
  HAL_Init();

  /* Configure the system clock */
  SystemClock_Config();

  /* Initialize all configured peripherals */
  MX_GPIO_Init();
  MX_USB_DEVICE_Init();
  MX_SPI1_Init();
  MX_TIM1_Init();
  MX_TIM2_Init();
  MX_DMA_Init();
  MX_TIM4_Init();
  MX_TIM3_Init();
  /* USER CODE BEGIN 2 */

  HAL_GPIO_WritePin(USB_EN_GPIO_Port, USB_EN_Pin, 1); // enable USB
  HAL_TIM_PWM_Start(&htim2, TIM_CHANNEL_1); // PWM for output
  HAL_TIM_Encoder_Start(&htim3, TIM_CHANNEL_ALL); // ENCODER
  TIM2->CCR2 = 998; // timer for PID interrupt + temperature update
  TIM2->CCR3 = 499; // timer for temperature update
  TIM2->DIER |= TIM_DIER_CC2IE|TIM_DIER_CC3IE; // interrupt enable
  HAL_TIM_Base_Start_IT(&htim2); // Enable Interrupts
  delay_init(&htim1); // inits the library for us delay
  init_lcd(); // init lcd and load special symbols

  /* USER CODE END 2 */

  /* Infinite loop */
  /* USER CODE BEGIN WHILE */
  while (1)
  {
	  do_button(); // update encoder status
	  do_blink(); // led heartbeat
	  do_usb();  // output debug information
	  do_interface(); // here happens the magic
	  do_peep(); // peep-peep
    /* USER CODE END WHILE */

  }
}

void SystemClock_Config(void)
{
  RCC_OscInitTypeDef RCC_OscInitStruct = {0};
  RCC_ClkInitTypeDef RCC_ClkInitStruct = {0};
  RCC_PeriphCLKInitTypeDef PeriphClkInit = {0};

  /** Initializes the RCC Oscillators according to the specified parameters
  * in the RCC_OscInitTypeDef structure.
  */
  RCC_OscInitStruct.OscillatorType = RCC_OSCILLATORTYPE_HSE;
  RCC_OscInitStruct.HSEState = RCC_HSE_ON;
  RCC_OscInitStruct.HSEPredivValue = RCC_HSE_PREDIV_DIV1;
  RCC_OscInitStruct.HSIState = RCC_HSI_ON;
  RCC_OscInitStruct.PLL.PLLState = RCC_PLL_ON;
  RCC_OscInitStruct.PLL.PLLSource = RCC_PLLSOURCE_HSE;
  RCC_OscInitStruct.PLL.PLLMUL = RCC_PLL_MUL6;
  if (HAL_RCC_OscConfig(&RCC_OscInitStruct) != HAL_OK)
  {
    Error_Handler();
  }
  /** Initializes the CPU, AHB and APB buses clocks
  */
  RCC_ClkInitStruct.ClockType = RCC_CLOCKTYPE_HCLK|RCC_CLOCKTYPE_SYSCLK
                              |RCC_CLOCKTYPE_PCLK1|RCC_CLOCKTYPE_PCLK2;
  RCC_ClkInitStruct.SYSCLKSource = RCC_SYSCLKSOURCE_PLLCLK;
  RCC_ClkInitStruct.AHBCLKDivider = RCC_SYSCLK_DIV1;
  RCC_ClkInitStruct.APB1CLKDivider = RCC_HCLK_DIV2;
  RCC_ClkInitStruct.APB2CLKDivider = RCC_HCLK_DIV1;

  if (HAL_RCC_ClockConfig(&RCC_ClkInitStruct, FLASH_LATENCY_1) != HAL_OK)
  {
    Error_Handler();
  }
  PeriphClkInit.PeriphClockSelection = RCC_PERIPHCLK_USB;
  PeriphClkInit.UsbClockSelection = RCC_USBCLKSOURCE_PLL;
  if (HAL_RCCEx_PeriphCLKConfig(&PeriphClkInit) != HAL_OK)
  {
    Error_Handler();
  }
}

static void MX_SPI1_Init(void)
{

  /* SPI1 parameter configuration*/
  hspi1.Instance = SPI1;
  hspi1.Init.Mode = SPI_MODE_MASTER;
  hspi1.Init.Direction = SPI_DIRECTION_2LINES_RXONLY;
  hspi1.Init.DataSize = SPI_DATASIZE_16BIT;
  hspi1.Init.CLKPolarity = SPI_POLARITY_LOW;
  hspi1.Init.CLKPhase = SPI_PHASE_1EDGE;
  hspi1.Init.NSS = SPI_NSS_HARD_OUTPUT;
  hspi1.Init.BaudRatePrescaler = SPI_BAUDRATEPRESCALER_128;
  hspi1.Init.FirstBit = SPI_FIRSTBIT_MSB;
  hspi1.Init.TIMode = SPI_TIMODE_DISABLE;
  hspi1.Init.CRCCalculation = SPI_CRCCALCULATION_DISABLE;
  hspi1.Init.CRCPolynomial = 10;
  if (HAL_SPI_Init(&hspi1) != HAL_OK)
  {
    Error_Handler();
  }

}

static void MX_TIM1_Init(void)
{

  TIM_ClockConfigTypeDef sClockSourceConfig = {0};
  TIM_MasterConfigTypeDef sMasterConfig = {0};

  htim1.Instance = TIM1;
  htim1.Init.Prescaler = HAL_RCC_GetSysClockFreq()/1000000-1;
  htim1.Init.CounterMode = TIM_COUNTERMODE_UP;
  htim1.Init.Period = 65535;
  htim1.Init.ClockDivision = TIM_CLOCKDIVISION_DIV1;
  htim1.Init.RepetitionCounter = 0;
  htim1.Init.AutoReloadPreload = TIM_AUTORELOAD_PRELOAD_DISABLE;
  if (HAL_TIM_Base_Init(&htim1) != HAL_OK)
  {
    Error_Handler();
  }
  sClockSourceConfig.ClockSource = TIM_CLOCKSOURCE_INTERNAL;
  if (HAL_TIM_ConfigClockSource(&htim1, &sClockSourceConfig) != HAL_OK)
  {
    Error_Handler();
  }
  sMasterConfig.MasterOutputTrigger = TIM_TRGO_RESET;
  sMasterConfig.MasterSlaveMode = TIM_MASTERSLAVEMODE_DISABLE;
  if (HAL_TIMEx_MasterConfigSynchronization(&htim1, &sMasterConfig) != HAL_OK)
  {
    Error_Handler();
  }

}

static void MX_TIM2_Init(void)
{

  TIM_ClockConfigTypeDef sClockSourceConfig = {0};
  TIM_MasterConfigTypeDef sMasterConfig = {0};
  TIM_OC_InitTypeDef sConfigOC = {0};

  htim2.Instance = TIM2;
  htim2.Init.Prescaler = HAL_RCC_GetSysClockFreq()/1000-1;
  htim2.Init.CounterMode = TIM_COUNTERMODE_UP;
  htim2.Init.Period = 999;
  htim2.Init.ClockDivision = TIM_CLOCKDIVISION_DIV1;
  htim2.Init.AutoReloadPreload = TIM_AUTORELOAD_PRELOAD_ENABLE;
  if (HAL_TIM_Base_Init(&htim2) != HAL_OK)
  {
    Error_Handler();
  }
  sClockSourceConfig.ClockSource = TIM_CLOCKSOURCE_INTERNAL;
  if (HAL_TIM_ConfigClockSource(&htim2, &sClockSourceConfig) != HAL_OK)
  {
    Error_Handler();
  }
  if (HAL_TIM_PWM_Init(&htim2) != HAL_OK)
  {
    Error_Handler();
  }
  if (HAL_TIM_OC_Init(&htim2) != HAL_OK)
  {
    Error_Handler();
  }
  sMasterConfig.MasterOutputTrigger = TIM_TRGO_RESET;
  sMasterConfig.MasterSlaveMode = TIM_MASTERSLAVEMODE_DISABLE;
  if (HAL_TIMEx_MasterConfigSynchronization(&htim2, &sMasterConfig) != HAL_OK)
  {
    Error_Handler();
  }
  sConfigOC.OCMode = TIM_OCMODE_PWM1;
  sConfigOC.Pulse = 0;
  sConfigOC.OCPolarity = TIM_OCPOLARITY_HIGH;
  sConfigOC.OCFastMode = TIM_OCFAST_DISABLE;
  if (HAL_TIM_PWM_ConfigChannel(&htim2, &sConfigOC, TIM_CHANNEL_1) != HAL_OK)
  {
    Error_Handler();
  }
  sConfigOC.OCMode = TIM_OCMODE_TIMING;
  if (HAL_TIM_OC_ConfigChannel(&htim2, &sConfigOC, TIM_CHANNEL_2) != HAL_OK)
  {
    Error_Handler();
  }
  if (HAL_TIM_OC_ConfigChannel(&htim2, &sConfigOC, TIM_CHANNEL_3) != HAL_OK)
  {
    Error_Handler();
  }
  HAL_TIM_MspPostInit(&htim2);

}

static void MX_TIM3_Init(void)
{

  TIM_Encoder_InitTypeDef sConfig = {0};
  TIM_MasterConfigTypeDef sMasterConfig = {0};

  htim3.Instance = TIM3;
  htim3.Init.Prescaler = 0;
  htim3.Init.CounterMode = TIM_COUNTERMODE_UP;
  htim3.Init.Period = 65535;
  htim3.Init.ClockDivision = TIM_CLOCKDIVISION_DIV1;
  htim3.Init.AutoReloadPreload = TIM_AUTORELOAD_PRELOAD_ENABLE;
  sConfig.EncoderMode = TIM_ENCODERMODE_TI1;
  sConfig.IC1Polarity = TIM_ICPOLARITY_RISING;
  sConfig.IC1Selection = TIM_ICSELECTION_DIRECTTI;
  sConfig.IC1Prescaler = TIM_ICPSC_DIV1;
  sConfig.IC1Filter = 10;
  sConfig.IC2Polarity = TIM_ICPOLARITY_RISING;
  sConfig.IC2Selection = TIM_ICSELECTION_DIRECTTI;
  sConfig.IC2Prescaler = TIM_ICPSC_DIV1;
  sConfig.IC2Filter = 10;
  if (HAL_TIM_Encoder_Init(&htim3, &sConfig) != HAL_OK)
  {
    Error_Handler();
  }
  sMasterConfig.MasterOutputTrigger = TIM_TRGO_RESET;
  sMasterConfig.MasterSlaveMode = TIM_MASTERSLAVEMODE_DISABLE;
  if (HAL_TIMEx_MasterConfigSynchronization(&htim3, &sMasterConfig) != HAL_OK)
  {
    Error_Handler();
  }

}

static void MX_TIM4_Init(void)
{

  TIM_ClockConfigTypeDef sClockSourceConfig = {0};
  TIM_MasterConfigTypeDef sMasterConfig = {0};
  TIM_OC_InitTypeDef sConfigOC = {0};

  htim4.Instance = TIM4;
  htim4.Init.Prescaler = 0;
  htim4.Init.CounterMode = TIM_COUNTERMODE_UP;
  htim4.Init.Period = 127;
  htim4.Init.ClockDivision = TIM_CLOCKDIVISION_DIV1;
  htim4.Init.AutoReloadPreload = TIM_AUTORELOAD_PRELOAD_ENABLE;
  if (HAL_TIM_Base_Init(&htim4) != HAL_OK)
  {
    Error_Handler();
  }
  sClockSourceConfig.ClockSource = TIM_CLOCKSOURCE_INTERNAL;
  if (HAL_TIM_ConfigClockSource(&htim4, &sClockSourceConfig) != HAL_OK)
  {
    Error_Handler();
  }
  if (HAL_TIM_PWM_Init(&htim4) != HAL_OK)
  {
    Error_Handler();
  }
  sMasterConfig.MasterOutputTrigger = TIM_TRGO_RESET;
  sMasterConfig.MasterSlaveMode = TIM_MASTERSLAVEMODE_DISABLE;
  if (HAL_TIMEx_MasterConfigSynchronization(&htim4, &sMasterConfig) != HAL_OK)
  {
    Error_Handler();
  }
  sConfigOC.OCMode = TIM_OCMODE_PWM1;
  sConfigOC.Pulse = 0;
  sConfigOC.OCPolarity = TIM_OCPOLARITY_HIGH;
  sConfigOC.OCFastMode = TIM_OCFAST_DISABLE;
  if (HAL_TIM_PWM_ConfigChannel(&htim4, &sConfigOC, TIM_CHANNEL_2) != HAL_OK)
  {
    Error_Handler();
  }
  HAL_TIM_MspPostInit(&htim4);

}

static void MX_DMA_Init(void)
{

  /* DMA controller clock enable */
  __HAL_RCC_DMA1_CLK_ENABLE();

  /* DMA interrupt init */
  /* DMA1_Channel4_IRQn interrupt configuration */
  HAL_NVIC_SetPriority(DMA1_Channel4_IRQn, 0, 0);
  HAL_NVIC_EnableIRQ(DMA1_Channel4_IRQn);

}

static void MX_GPIO_Init(void)
{
  GPIO_InitTypeDef GPIO_InitStruct = {0};

  /* GPIO Ports Clock Enable */
  __HAL_RCC_GPIOC_CLK_ENABLE();
  __HAL_RCC_GPIOD_CLK_ENABLE();
  __HAL_RCC_GPIOA_CLK_ENABLE();
  __HAL_RCC_GPIOB_CLK_ENABLE();

  /*Configure GPIO pin Output Level */
  HAL_GPIO_WritePin(GPIOC, LED_Pin|HOT_LEDS_Pin, GPIO_PIN_RESET);

  /*Configure GPIO pin Output Level */
  HAL_GPIO_WritePin(GPIOB, hd_7_Pin|hd_6_Pin|hd_RS_Pin|hd_E_Pin
                          |hd_4_Pin|hd_5_Pin, GPIO_PIN_SET);

  /*Configure GPIO pin Output Level */
  HAL_GPIO_WritePin(USB_EN_GPIO_Port, USB_EN_Pin, GPIO_PIN_RESET);

  /*Configure GPIO pin Output Level */
  HAL_GPIO_WritePin(GPIOB, debug_a_Pin|debug_b_Pin, GPIO_PIN_RESET);

  /*Configure GPIO pins : LED_Pin HOT_LEDS_Pin */
  GPIO_InitStruct.Pin = LED_Pin|HOT_LEDS_Pin;
  GPIO_InitStruct.Mode = GPIO_MODE_OUTPUT_PP;
  GPIO_InitStruct.Pull = GPIO_NOPULL;
  GPIO_InitStruct.Speed = GPIO_SPEED_FREQ_LOW;
  HAL_GPIO_Init(GPIOC, &GPIO_InitStruct);

  /*Configure GPIO pins : hd_7_Pin hd_6_Pin hd_RS_Pin hd_E_Pin
                           hd_4_Pin hd_5_Pin debug_a_Pin debug_b_Pin */
  GPIO_InitStruct.Pin = hd_7_Pin|hd_6_Pin|hd_RS_Pin|hd_E_Pin
                          |hd_4_Pin|hd_5_Pin|debug_a_Pin|debug_b_Pin;
  GPIO_InitStruct.Mode = GPIO_MODE_OUTPUT_PP;
  GPIO_InitStruct.Pull = GPIO_NOPULL;
  GPIO_InitStruct.Speed = GPIO_SPEED_FREQ_LOW;
  HAL_GPIO_Init(GPIOB, &GPIO_InitStruct);

  /*Configure GPIO pin : USB_EN_Pin */
  GPIO_InitStruct.Pin = USB_EN_Pin;
  GPIO_InitStruct.Mode = GPIO_MODE_OUTPUT_PP;
  GPIO_InitStruct.Pull = GPIO_NOPULL;
  GPIO_InitStruct.Speed = GPIO_SPEED_FREQ_LOW;
  HAL_GPIO_Init(USB_EN_GPIO_Port, &GPIO_InitStruct);

  /*Configure GPIO pin : enc_s_Pin */
  GPIO_InitStruct.Pin = enc_s_Pin;
  GPIO_InitStruct.Mode = GPIO_MODE_INPUT;
  GPIO_InitStruct.Pull = GPIO_NOPULL;
  HAL_GPIO_Init(enc_s_GPIO_Port, &GPIO_InitStruct);

}

void Error_Handler(void)
{
  __disable_irq();
  while (1)
  {
  }
}

/************************ (C) COPYRIGHT STMicroelectronics *****END OF FILE****/
